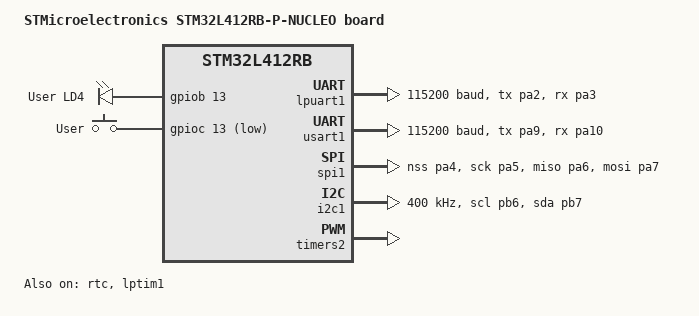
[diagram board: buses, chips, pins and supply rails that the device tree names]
/*
 * Copyright (c) 2021 Guðni Már Gilbert
 *
 * SPDX-License-Identifier: Apache-2.0
 */

/dts-v1/;
#include <st/l4/stm32l412XB.dtsi>
#include <st/l4/stm32l412rbtx-pinctrl.dtsi>
#include "arduino_r3_connector.dtsi"

/ {
	model = "STMicroelectronics STM32L412RB-P-NUCLEO board";
	compatible = "st,stm32l412rb-p-nucleo";

	chosen {
		zephyr,console = &lpuart1;
		zephyr,shell-uart = &lpuart1;
		zephyr,sram = &sram0;
		zephyr,flash = &flash0;
	};

	leds {
		compatible = "gpio-leds";
		green_led: led_0 {
			gpios = <&gpiob 13 GPIO_ACTIVE_HIGH>;
			label = "User LD4";
		};
	};

	gpio_keys {
		compatible = "gpio-keys";
		user_button: button {
			label = "User";
			gpios = <&gpioc 13 GPIO_ACTIVE_LOW>;
		};
	};

	aliases {
		led0 = &green_led;
		sw0 = &user_button;
	};
};

&lpuart1 {
	pinctrl-0 = <&lpuart1_tx_pa2 &lpuart1_rx_pa3>;
	current-speed = <115200>;
	status = "okay";
};

&usart1 {
	pinctrl-0 = <&usart1_tx_pa9 &usart1_rx_pa10>;
	current-speed = <115200>;
};

&spi1 {
	pinctrl-0 = <&spi1_nss_pa4 &spi1_sck_pa5
			 &spi1_miso_pa6 &spi1_mosi_pa7>;
	status = "okay";
};

&i2c1 {
	pinctrl-0 = <&i2c1_scl_pb6 &i2c1_sda_pb7>;
	clock-frequency = <I2C_BITRATE_FAST>;
	status = "okay";
};

&timers2 {
	status = "okay";

	pwm2: pwm {
		status = "okay";
		pinctrl-0 = <&tim2_ch1_pa0>;
	};
};

&rtc {
	status = "okay";
};

&lptim1 {
	status = "okay";
};

&flash0 {
	partitions {
		compatible = "fixed-partitions";
		#address-cells = <1>;
		#size-cells = <1>;

		/*
		 * Reserve the final 16 KiB for file system partition
		 * 128 KiB --> 131702 bytes
		 * 16 KiB  --> 16384 bytes
		 * Start Addr = 131702 - 16384 --> (HEX) 0x0001c276
		 * Size = 16384 --> (HEX) 0x00004000
		 */
		storage_partition: partition@1c276 {
			label = "storage";
			reg = <0x0001c276 0x00004000>;
		};
	};
};
